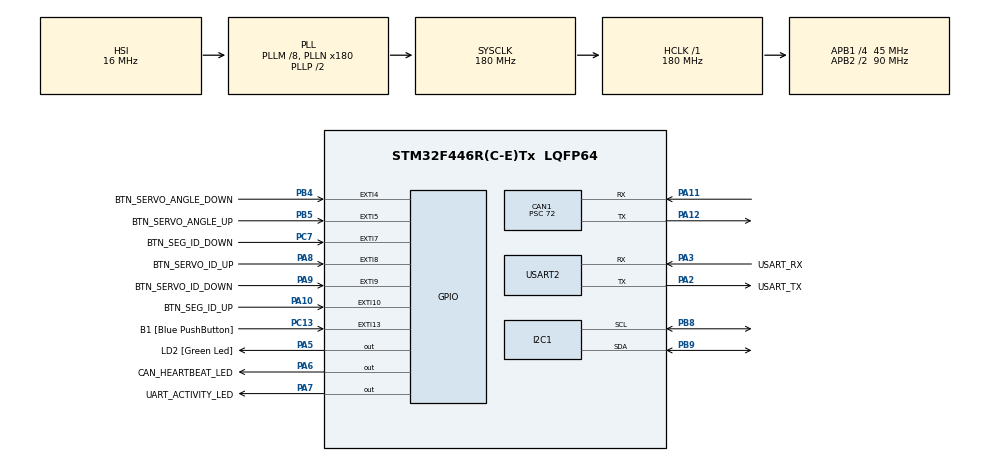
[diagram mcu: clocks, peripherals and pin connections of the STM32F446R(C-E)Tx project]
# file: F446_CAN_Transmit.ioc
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CAN1.BS1=CAN_BS1_2TQ
CAN1.BS2=CAN_BS2_2TQ
CAN1.CalculateBaudRate=125000
CAN1.CalculateTimeBit=8000
CAN1.CalculateTimeQuantum=1600.0
CAN1.Prescaler=72
Mcu.Family=STM32F4
Mcu.Name=STM32F446R(C-E)Tx
Mcu.Package=LQFP64
NVIC.CAN1_RX0_IRQn=true\:0\:0\:false\:false\:true\:true\:true\:true
NVIC.EXTI15_10_IRQn=true\:0\:0\:false\:false\:true\:true\:true\:true
NVIC.EXTI4_IRQn=true\:0\:0\:false\:false\:true\:true\:true\:true
NVIC.EXTI9_5_IRQn=true\:0\:0\:false\:false\:true\:true\:true\:true
NVIC.PriorityGroup=NVIC_PRIORITYGROUP_0
NVIC.TIM6_DAC_IRQn=true\:0\:0\:false\:false\:true\:true\:true\:true
NVIC.TIM7_IRQn=true\:0\:0\:false\:false\:true\:true\:true\:true
NVIC.USART2_IRQn=true\:0\:0\:false\:false\:true\:true\:true\:true
PA10.GPIO_Label=BTN_SEG_ID_UP
PA10.GPIO_PuPd=GPIO_PULLUP
PA10.Signal=GPXTI10
PA11.Mode=CAN_Activate
PA11.Signal=CAN1_RX
PA12.Mode=CAN_Activate
PA12.Signal=CAN1_TX
PA13.GPIO_Label=TMS
PA13.Mode=Serial_Wire
PA13.Signal=SYS_JTMS-SWDIO
PA14.GPIO_Label=TCK
PA14.Mode=Serial_Wire
PA14.Signal=SYS_JTCK-SWCLK
PA2.GPIO_Label=USART_TX
PA2.Mode=Asynchronous
PA2.Signal=USART2_TX
PA3.GPIO_Label=USART_RX
PA3.Mode=Asynchronous
PA3.Signal=USART2_RX
PA5.GPIO_Label=LD2 [Green Led]
PA5.Signal=GPIO_Output
PA6.GPIO_Label=CAN_HEARTBEAT_LED
PA6.Signal=GPIO_Output
PA7.GPIO_Label=UART_ACTIVITY_LED
PA7.Signal=GPIO_Output
PA8.GPIO_Label=BTN_SERVO_ID_UP
PA8.GPIO_PuPd=GPIO_PULLUP
PA8.Signal=GPXTI8
PA9.GPIO_Label=BTN_SERVO_ID_DOWN
PA9.GPIO_PuPd=GPIO_PULLUP
PA9.Signal=GPXTI9
PB3.GPIO_Label=SWO
PB3.Signal=SYS_JTDO-SWO
PB4.GPIO_Label=BTN_SERVO_ANGLE_DOWN
PB4.GPIO_PuPd=GPIO_PULLUP
PB4.Signal=GPXTI4
PB5.GPIO_Label=BTN_SERVO_ANGLE_UP
PB5.GPIO_PuPd=GPIO_PULLUP
PB5.Signal=GPXTI5
PB8.Mode=I2C
PB8.Signal=I2C1_SCL
PB9.Mode=I2C
PB9.Signal=I2C1_SDA
PC13.GPIO_Label=B1 [Blue PushButton]
PC13.GPIO_ModeDefaultEXTI=GPIO_MODE_IT_FALLING
PC13.Signal=GPXTI13
PC14-OSC32_IN.Mode=LSE-External-Oscillator
PC14-OSC32_IN.Signal=RCC_OSC32_IN
PC15-OSC32_OUT.Mode=LSE-External-Oscillator
PC15-OSC32_OUT.Signal=RCC_OSC32_OUT
PC7.GPIO_Label=BTN_SEG_ID_DOWN
PC7.GPIO_PuPd=GPIO_PULLUP
PC7.Signal=GPXTI7
PH0-OSC_IN.Mode=HSE-External-Oscillator
PH0-OSC_IN.Signal=RCC_OSC_IN
PH1-OSC_OUT.Mode=HSE-External-Oscillator
PH1-OSC_OUT.Signal=RCC_OSC_OUT
ProjectManager.HeapSize=0x200
ProjectManager.StackSize=0x400
ProjectManager.TargetToolchain=STM32CubeIDE
RCC.48MHZClocksFreq_Value=84000000
RCC.AHBFreq_Value=180000000
RCC.APB1CLKDivider=RCC_HCLK_DIV4
RCC.APB1Freq_Value=45000000
RCC.APB1TimFreq_Value=90000000
RCC.APB2CLKDivider=RCC_HCLK_DIV2
RCC.APB2Freq_Value=90000000
RCC.APB2TimFreq_Value=180000000
RCC.CortexFreq_Value=180000000
RCC.FLatency-AdvancedSettings=FLASH_LATENCY_5
RCC.HCLKFreq_Value=180000000
RCC.HSE_VALUE=8000000
RCC.HSI_VALUE=16000000
RCC.PLLM=8
RCC.PLLN=180
RCC.SYSCLKFreq_VALUE=180000000
RCC.SYSCLKSource=RCC_SYSCLKSOURCE_PLLCLK
RCC.USBFreq_Value=180000000
RCC.VCOOutputFreq_Value=360000000
TIM6.Period=40000-1
TIM6.Prescaler=270-1
TIM7.Period=5000-1
TIM7.Prescaler=9000-1
USART2.VirtualMode=VM_ASYNC
VP_TIM6_VS_ClockSourceINT.Mode=Enable_Timer
VP_TIM7_VS_ClockSourceINT.Mode=Enable_Timer
board=NUCLEO-F446RE

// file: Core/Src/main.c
/* USER CODE BEGIN Header */
/**
  ******************************************************************************
  * @file           : main.c
  * @brief          : Main program body
  ******************************************************************************
  * @attention
  *
  * Copyright (c) 2023 STMicroelectronics.
  * All rights reserved.
  *
  * This software is licensed under terms that can be found in the LICENSE file
  * in the root directory of this software component.
  * If no LICENSE file comes with this software, it is provided AS-IS.
  *
  ******************************************************************************
  */
/* USER CODE END Header */
#include "main.h"

/* USER CODE BEGIN Includes */
#include <stdbool.h>
#include <stdio.h>
#include <string.h>
#include "../../Drivers/ssd1306/ssd1306.h"
/* USER CODE END Includes */

/* USER CODE BEGIN PD */
//#define OLED_UART

//#define EXAMPLE_1
//#define EXAMPLE_2
//#define HEARTBEAT_EXAMPLE
/* USER CODE END PD */

CAN_HandleTypeDef hcan1;

I2C_HandleTypeDef hi2c1;

TIM_HandleTypeDef htim6;
TIM_HandleTypeDef htim7;

UART_HandleTypeDef huart2;

/* USER CODE BEGIN PV */
CAN_TxHeaderTypeDef txHeader;
CAN_RxHeaderTypeDef rxHeader;

uint8_t txData[8];
uint8_t rxData[8];

uint32_t txMailbox;

uint8_t expectedHeartbeatData = 0;

uint16_t angle = 0;

#define UART_RX_BUFFER_SIZE 20
uint8_t UART_Rx_Buffer[UART_RX_BUFFER_SIZE];

#define UART_RESPONSE_LENGTH 20
uint8_t UARTResponseString[UART_RESPONSE_LENGTH];
/* USER CODE END PV */

void SystemClock_Config(void);
static void MX_GPIO_Init(void);
static void MX_USART2_UART_Init(void);
static void MX_CAN1_Init(void);
static void MX_TIM6_Init(void);
static void MX_I2C1_Init(void);
static void MX_TIM7_Init(void);
/* USER CODE BEGIN PFP */
void updateManualValues();
bool stringToCANMessage(uint8_t *buffer, uint16_t size);
/* USER CODE END PFP */

/* USER CODE BEGIN 0 */
void HAL_GPIO_EXTI_Callback(uint16_t GPIO_Pin)
{
	// Disable button interrupts
	HAL_NVIC_DisableIRQ(EXTI4_IRQn);
	HAL_NVIC_DisableIRQ(EXTI9_5_IRQn);
	HAL_NVIC_DisableIRQ(EXTI15_10_IRQn);

	// Start debounce timer
	HAL_TIM_Base_Start_IT(&htim6);

	static uint8_t servoID = 0;
	static uint8_t segID = 0x10;

	switch(GPIO_Pin)
	{
		case BTN_SERVO_ANGLE_DOWN_Pin:
			angle = (angle <= 0) ? 270: angle - 10;
			break;
		case BTN_SERVO_ANGLE_UP_Pin:
			angle += 10;
			angle %= 270;
			break;
		case BTN_SERVO_ID_DOWN_Pin:
			servoID = (servoID <= 0) ? 0x03 : servoID - 1;
			break;
		case BTN_SERVO_ID_UP_Pin:
			servoID = (servoID >= 0x03) ? 0x00 : servoID + 1;
			break;
		case BTN_SEG_ID_UP_Pin:
			segID += 0x10;
			break;
		case BTN_SEG_ID_DOWN_Pin:
			segID -= 0x10;
			break;
	}

	txData[0] = angle >> 8;
	txData[1] = angle & 0x00FF;

	txHeader.StdId = segID + servoID;
	txHeader.RTR = CAN_RTR_DATA;
	txHeader.DLC = 2;

	HAL_CAN_AddTxMessage(&hcan1, &txHeader, txData, &txMailbox);

	HAL_GPIO_TogglePin(LD2_GPIO_Port, LD2_Pin);

	updateManualValues();
}

void HAL_UARTEx_RxEventCallback(UART_HandleTypeDef *huart, uint16_t Size)
{
	HAL_GPIO_WritePin(UART_ACTIVITY_LED_GPIO_Port, UART_ACTIVITY_LED_Pin, GPIO_PIN_SET);
	// Toggle LED if conversion and transmission was successful
	if(stringToCANMessage(UART_Rx_Buffer, Size))
	{
		HAL_GPIO_TogglePin(LD2_GPIO_Port, LD2_Pin);
		strcpy((char *) UARTResponseString, "OK\n");
	}
	else
	{
		strcpy((char *) UARTResponseString, "FAILED\n");
	}

#ifdef OLED_UART

	// Clear previous string
	ssd1306_SetCursor(0, 53);
	ssd1306_WriteString("                  ", Font_7x10, White);

	ssd1306_SetCursor(0, 53);
	ssd1306_WriteString((char *) UART_Rx_Buffer, Font_7x10, White);
	ssd1306_UpdateScreen();
#endif

//	HAL_UART_Transmit_IT(huart, UART_Rx_Buffer, Size);
	HAL_UART_Transmit_IT(huart, UARTResponseString, strlen((char *) UARTResponseString));
}

void HAL_UART_TxCpltCallback(UART_HandleTypeDef *huart)
{
	HAL_GPIO_WritePin(UART_ACTIVITY_LED_GPIO_Port, UART_ACTIVITY_LED_Pin, GPIO_PIN_RESET);

	HAL_UARTEx_ReceiveToIdle_IT(&huart2, UART_Rx_Buffer, UART_RX_BUFFER_SIZE);
}

void HAL_CAN_RxFifo0MsgPendingCallback(CAN_HandleTypeDef *hcan)
{
	HAL_CAN_GetRxMessage(&hcan1, CAN_RX_FIFO0, &rxHeader, rxData);

	// Check header length
	// Will likely need to be converted to a switch statement as more commands are implemented
	if((rxHeader.DLC == 1) && (rxData[0] == expectedHeartbeatData))
	{
		// Heart beat received if data matches expected value
		HAL_GPIO_WritePin(CAN_HEARTBEAT_LED_GPIO_Port, CAN_HEARTBEAT_LED_Pin, GPIO_PIN_RESET);
	}
}

void HAL_TIM_PeriodElapsedCallback(TIM_HandleTypeDef* htim)
{
	if(htim == &htim6)
	{
		// Re-enable button interrupts after debounce period
		HAL_NVIC_EnableIRQ(EXTI4_IRQn);
		HAL_NVIC_EnableIRQ(EXTI9_5_IRQn);
		HAL_NVIC_EnableIRQ(EXTI15_10_IRQn);

		HAL_TIM_Base_Stop_IT(&htim6);
	}
	else if(htim == &htim7)
	{
		// Store expected response for comparison in RxFifo0Callback
		// Expected value should be the CAN ID of the node you want to check
		expectedHeartbeatData = (expectedHeartbeatData < 0x40) ? expectedHeartbeatData + 0x10 : 0x10;

		txHeader.StdId = expectedHeartbeatData;
		txHeader.DLC = 1;
		txHeader.RTR = CAN_RTR_REMOTE;

		HAL_CAN_AddTxMessage(&hcan1, &txHeader, txData, &txMailbox);

		HAL_GPIO_TogglePin(LD2_GPIO_Port, LD2_Pin);
		HAL_GPIO_WritePin(CAN_HEARTBEAT_LED_GPIO_Port, CAN_HEARTBEAT_LED_Pin, GPIO_PIN_SET);
	}
}

bool stringToCANMessage(uint8_t *buffer, uint16_t size)
{
  // -= SET Command =-
  // Syntax: SET <ID> <ANGLE>
  // Description: Sets an individual servo motor to the specified angle
  // Parameters
  // <ID> -- Complete CAN ID of servo (e.g., 0x12 for segment 1 servo 2)
  // <ANGLE> -- Integer angle between 0 and 270 degrees
  // Example: SET 12 135
	if(strncmp((char *) buffer, (char *) "SET", 3) == 0)
	{
		unsigned int tmpID = 0;
		unsigned int tmpAngle = 0;

		// TODO: Implement hold flag
		if(sscanf((char *) buffer, "SET %X %u", &tmpID, &tmpAngle) != 2)
		{
			return false;
		}

		txData[0] = tmpAngle >> 8;
		txData[1] = tmpAngle & 0x00FF;

		txHeader.StdId = tmpID;
		txHeader.RTR = CAN_RTR_DATA;
		txHeader.DLC = 2;

		HAL_CAN_AddTxMessage(&hcan1, &txHeader, txData, &txMailbox);

#ifdef OLED_UART
		updateManualValues();
#endif

		return true;
	}

  // -= WAVE Command =-
  // Syntax: WAVE <SPEED> <TURN_ANGLE>
  // Description: Control metachronal wave and turning angle
  // Parameters
  // <SPEED> -- Decimal integer between 0 and 127 specifying the speed of the wave. 127 is max speed.
  // <TURN_ANGLE> -- (Optional) Decimal Integer angle between -135 and 135 degrees specifying the target turning angle of the robot. Remains unchanged if not specified.
  // Example 1: WAVE 0
  // Example 2: WAVE 50 -30
	else if(strncmp((char *) buffer, (char *) "WAVE", 4) == 0)
	{
		int8_t tmpSpeed = 0;

		if(sscanf((char *) buffer, "WAVE %hhd", &tmpSpeed) != 1)
		{
			return false;
		}

		txData[0] = tmpSpeed;

		txHeader.StdId = 0xFF;
		txHeader.RTR = CAN_RTR_DATA;
		txHeader.DLC = 1;

		HAL_CAN_AddTxMessage(&hcan1, &txHeader, txData, &txMailbox);

		return true;
	}

	return false;
}

void updateManualValues()
{
	char buffer[11];

	uint16_t angleDecimal = (txData[0] << 8) + txData[1];

	sprintf(buffer, "%2X %2X  %3d", (unsigned int) txHeader.StdId >> 4, (unsigned int) txHeader.StdId & 0x0F, angleDecimal);
	ssd1306_SetCursor(9, 30);
	ssd1306_WriteString(buffer, Font_11x18, White);
	ssd1306_UpdateScreen();
}
/* USER CODE END 0 */

int main(void)
{

  /* MCU Configuration--------------------------------------------------------*/

  /* Reset of all peripherals, Initializes the Flash interface and the Systick. */
  HAL_Init();

  /* Configure the system clock */
  SystemClock_Config();

  /* Initialize all configured peripherals */
  MX_GPIO_Init();
  MX_USART2_UART_Init();
  MX_CAN1_Init();
  MX_TIM6_Init();
  MX_I2C1_Init();
  MX_TIM7_Init();
  /* USER CODE BEGIN 2 */

  // Initialize SSD1306 display
  ssd1306_Init();
  ssd1306_Fill(Black);

  // Display number labels
  ssd1306_SetCursor(9, 10);
  ssd1306_WriteString("ID  M   A", Font_11x18, White);

  // Display placeholder values
  ssd1306_SetCursor(9, 30);
  ssd1306_WriteString("XX YY  ZZZ", Font_11x18, White);
  ssd1306_UpdateScreen();

  // Initialize CAN Tx header
  txHeader.DLC = 1;
  txHeader.IDE = CAN_ID_STD;
  txHeader.RTR = CAN_RTR_DATA;
  txHeader.StdId = 0x10;
  txHeader.ExtId = 0;
  txHeader.TransmitGlobalTime = DISABLE;

  HAL_CAN_Start(&hcan1);
  HAL_CAN_ActivateNotification(&hcan1, CAN_IT_RX_FIFO0_MSG_PENDING);

#ifndef HEARTBEAT_EXAMPLE
  // Start heartbeat timer
  HAL_TIM_Base_Start_IT(&htim7);
#endif

  // Start UART receive interrupt cycle
  HAL_UARTEx_ReceiveToIdle_IT(&huart2, UART_Rx_Buffer, UART_RX_BUFFER_SIZE);
  /* USER CODE END 2 */

  /* Infinite loop */
  /* USER CODE BEGIN WHILE */
  while (1)
  {
#ifdef EXAMPLE_1
//	  Example 1
	const uint8_t anglesByte0[4] = {0x0, 0x0, 0x0, 0x1};
	const uint8_t anglesByte1[4] = {0x0, 0x5A, 0xB4, 0x0E};

	for (uint8_t j = 0; j < 4; j++)
	{
		// Cycle through each servo motor connected to the segment
		for(uint8_t i = 0; i <= 3; i++)
		{
			// Modify this loop to control which segments the example addresses
			// E.g., 0x10 for segment 1, 0x20 for segment 2, etc.
			for(uint8_t segBaseAddr = 0x10; segBaseAddr <= 0x10; segBaseAddr += 0x10)
			{

				txHeader.StdId = segBaseAddr + i;

				txData[0] = anglesByte0[j];
				txData[1] = anglesByte1[j];

				txHeader.DLC = 2;
				HAL_CAN_AddTxMessage(&hcan1, &txHeader, txData, &txMailbox);

				updateManualValues();

				HAL_GPIO_TogglePin(LD2_GPIO_Port, LD2_Pin);

				HAL_Delay(500);
			}
		}

	}
#endif

#ifdef EXAMPLE_2
//	  Example 2
	for(uint8_t i = 3; i <= 8; i++)
	{
		txData[0] = i;
		txHeader.DLC = 1;
		HAL_CAN_AddTxMessage(&hcan1, &txHeader, txData, &txMailbox);

		HAL_GPIO_TogglePin(LD2_GPIO_Port, LD2_Pin);

		HAL_Delay(10000);
	}
#endif

#ifdef HEARTBEAT_EXAMPLE
	for(uint8_t id = 0x10; id <= 0x20; id += 0x10)
	{
		// Store expected response for comparison in RxFifo0Callback
		// Expected value should be the CAN ID of the node you want to check
		expectedHeartbeatData = id;

		txHeader.StdId = id;
		txHeader.DLC = 1;
		txHeader.RTR = CAN_RTR_REMOTE;

		HAL_CAN_AddTxMessage(&hcan1, &txHeader, txData, &txMailbox);

		HAL_GPIO_TogglePin(LD2_GPIO_Port, LD2_Pin);

		updateManualValues();

		HAL_Delay(1000);
	}
#endif
    /* USER CODE END WHILE */

  }
}

void SystemClock_Config(void)
{
  RCC_OscInitTypeDef RCC_OscInitStruct = {0};
  RCC_ClkInitTypeDef RCC_ClkInitStruct = {0};

  /** Configure the main internal regulator output voltage
  */
  __HAL_RCC_PWR_CLK_ENABLE();
  __HAL_PWR_VOLTAGESCALING_CONFIG(PWR_REGULATOR_VOLTAGE_SCALE1);

  /** Initializes the RCC Oscillators according to the specified parameters
  * in the RCC_OscInitTypeDef structure.
  */
  RCC_OscInitStruct.OscillatorType = RCC_OSCILLATORTYPE_HSI;
  RCC_OscInitStruct.HSIState = RCC_HSI_ON;
  RCC_OscInitStruct.HSICalibrationValue = RCC_HSICALIBRATION_DEFAULT;
  RCC_OscInitStruct.PLL.PLLState = RCC_PLL_ON;
  RCC_OscInitStruct.PLL.PLLSource = RCC_PLLSOURCE_HSI;
  RCC_OscInitStruct.PLL.PLLM = 8;
  RCC_OscInitStruct.PLL.PLLN = 180;
  RCC_OscInitStruct.PLL.PLLP = RCC_PLLP_DIV2;
  RCC_OscInitStruct.PLL.PLLQ = 2;
  RCC_OscInitStruct.PLL.PLLR = 2;
  if (HAL_RCC_OscConfig(&RCC_OscInitStruct) != HAL_OK)
  {
    Error_Handler();
  }

  /** Activate the Over-Drive mode
  */
  if (HAL_PWREx_EnableOverDrive() != HAL_OK)
  {
    Error_Handler();
  }

  /** Initializes the CPU, AHB and APB buses clocks
  */
  RCC_ClkInitStruct.ClockType = RCC_CLOCKTYPE_HCLK|RCC_CLOCKTYPE_SYSCLK
                              |RCC_CLOCKTYPE_PCLK1|RCC_CLOCKTYPE_PCLK2;
  RCC_ClkInitStruct.SYSCLKSource = RCC_SYSCLKSOURCE_PLLCLK;
  RCC_ClkInitStruct.AHBCLKDivider = RCC_SYSCLK_DIV1;
  RCC_ClkInitStruct.APB1CLKDivider = RCC_HCLK_DIV4;
  RCC_ClkInitStruct.APB2CLKDivider = RCC_HCLK_DIV2;

  if (HAL_RCC_ClockConfig(&RCC_ClkInitStruct, FLASH_LATENCY_5) != HAL_OK)
  {
    Error_Handler();
  }
}

static void MX_CAN1_Init(void)
{

  hcan1.Instance = CAN1;
  hcan1.Init.Prescaler = 72;
  hcan1.Init.Mode = CAN_MODE_NORMAL;
  hcan1.Init.SyncJumpWidth = CAN_SJW_1TQ;
  hcan1.Init.TimeSeg1 = CAN_BS1_2TQ;
  hcan1.Init.TimeSeg2 = CAN_BS2_2TQ;
  hcan1.Init.TimeTriggeredMode = DISABLE;
  hcan1.Init.AutoBusOff = DISABLE;
  hcan1.Init.AutoWakeUp = DISABLE;
  hcan1.Init.AutoRetransmission = DISABLE;
  hcan1.Init.ReceiveFifoLocked = DISABLE;
  hcan1.Init.TransmitFifoPriority = DISABLE;
  if (HAL_CAN_Init(&hcan1) != HAL_OK)
  {
    Error_Handler();
  }
  /* USER CODE BEGIN CAN1_Init 2 */
  CAN_FilterTypeDef canFilterConfig;

  canFilterConfig.FilterActivation = CAN_FILTER_ENABLE;
  canFilterConfig.FilterBank = 0; // 18
  canFilterConfig.FilterFIFOAssignment = CAN_FilterFIFO0;

  canFilterConfig.FilterIdHigh = 0x020 << 5;	// Can be any value if FilterMaskIDHigh is 0
  canFilterConfig.FilterIdLow = 0;
//  canFilterConfig.FilterMaskIdHigh = 0x7FC << 5;	// Filter by ID, ignoring 2 LSBs
  canFilterConfig.FilterMaskIdHigh = 0x000 << 5;	// Allow all IDs through filter (i.e., don't check any ID bits)
  canFilterConfig.FilterMaskIdLow = 0x0000;
  canFilterConfig.FilterMode = CAN_FILTERMODE_IDMASK;
  canFilterConfig.FilterScale = CAN_FILTERSCALE_32BIT;
  canFilterConfig.SlaveStartFilterBank = 20;

  HAL_CAN_ConfigFilter(&hcan1, &canFilterConfig);
  /* USER CODE END CAN1_Init 2 */

}

static void MX_I2C1_Init(void)
{

  hi2c1.Instance = I2C1;
  hi2c1.Init.ClockSpeed = 100000;
  hi2c1.Init.DutyCycle = I2C_DUTYCYCLE_2;
  hi2c1.Init.OwnAddress1 = 0;
  hi2c1.Init.AddressingMode = I2C_ADDRESSINGMODE_7BIT;
  hi2c1.Init.DualAddressMode = I2C_DUALADDRESS_DISABLE;
  hi2c1.Init.OwnAddress2 = 0;
  hi2c1.Init.GeneralCallMode = I2C_GENERALCALL_DISABLE;
  hi2c1.Init.NoStretchMode = I2C_NOSTRETCH_DISABLE;
  if (HAL_I2C_Init(&hi2c1) != HAL_OK)
  {
    Error_Handler();
  }

}

static void MX_TIM6_Init(void)
{

  TIM_MasterConfigTypeDef sMasterConfig = {0};

  htim6.Instance = TIM6;
  htim6.Init.Prescaler = 270-1;
  htim6.Init.CounterMode = TIM_COUNTERMODE_UP;
  htim6.Init.Period = 40000-1;
  htim6.Init.AutoReloadPreload = TIM_AUTORELOAD_PRELOAD_DISABLE;
  if (HAL_TIM_Base_Init(&htim6) != HAL_OK)
  {
    Error_Handler();
  }
  sMasterConfig.MasterOutputTrigger = TIM_TRGO_RESET;
  sMasterConfig.MasterSlaveMode = TIM_MASTERSLAVEMODE_DISABLE;
  if (HAL_TIMEx_MasterConfigSynchronization(&htim6, &sMasterConfig) != HAL_OK)
  {
    Error_Handler();
  }

}

static void MX_TIM7_Init(void)
{

  TIM_MasterConfigTypeDef sMasterConfig = {0};

  htim7.Instance = TIM7;
  htim7.Init.Prescaler = 9000-1;
  htim7.Init.CounterMode = TIM_COUNTERMODE_UP;
  htim7.Init.Period = 5000-1;
  htim7.Init.AutoReloadPreload = TIM_AUTORELOAD_PRELOAD_DISABLE;
  if (HAL_TIM_Base_Init(&htim7) != HAL_OK)
  {
    Error_Handler();
  }
  sMasterConfig.MasterOutputTrigger = TIM_TRGO_RESET;
  sMasterConfig.MasterSlaveMode = TIM_MASTERSLAVEMODE_DISABLE;
  if (HAL_TIMEx_MasterConfigSynchronization(&htim7, &sMasterConfig) != HAL_OK)
  {
    Error_Handler();
  }

}

static void MX_USART2_UART_Init(void)
{

  huart2.Instance = USART2;
  huart2.Init.BaudRate = 115200;
  huart2.Init.WordLength = UART_WORDLENGTH_8B;
  huart2.Init.StopBits = UART_STOPBITS_1;
  huart2.Init.Parity = UART_PARITY_NONE;
  huart2.Init.Mode = UART_MODE_TX_RX;
  huart2.Init.HwFlowCtl = UART_HWCONTROL_NONE;
  huart2.Init.OverSampling = UART_OVERSAMPLING_16;
  if (HAL_UART_Init(&huart2) != HAL_OK)
  {
    Error_Handler();
  }

}

static void MX_GPIO_Init(void)
{
  GPIO_InitTypeDef GPIO_InitStruct = {0};

  /* GPIO Ports Clock Enable */
  __HAL_RCC_GPIOC_CLK_ENABLE();
  __HAL_RCC_GPIOH_CLK_ENABLE();
  __HAL_RCC_GPIOA_CLK_ENABLE();
  __HAL_RCC_GPIOB_CLK_ENABLE();

  /*Configure GPIO pin Output Level */
  HAL_GPIO_WritePin(GPIOA, LD2_Pin|CAN_HEARTBEAT_LED_Pin|UART_ACTIVITY_LED_Pin, GPIO_PIN_RESET);

  /*Configure GPIO pin : B1_Pin */
  GPIO_InitStruct.Pin = B1_Pin;
  GPIO_InitStruct.Mode = GPIO_MODE_IT_FALLING;
  GPIO_InitStruct.Pull = GPIO_NOPULL;
  HAL_GPIO_Init(B1_GPIO_Port, &GPIO_InitStruct);

  /*Configure GPIO pins : LD2_Pin CAN_HEARTBEAT_LED_Pin UART_ACTIVITY_LED_Pin */
  GPIO_InitStruct.Pin = LD2_Pin|CAN_HEARTBEAT_LED_Pin|UART_ACTIVITY_LED_Pin;
  GPIO_InitStruct.Mode = GPIO_MODE_OUTPUT_PP;
  GPIO_InitStruct.Pull = GPIO_NOPULL;
  GPIO_InitStruct.Speed = GPIO_SPEED_FREQ_LOW;
  HAL_GPIO_Init(GPIOA, &GPIO_InitStruct);

  /*Configure GPIO pin : BTN_SEG_ID_DOWN_Pin */
  GPIO_InitStruct.Pin = BTN_SEG_ID_DOWN_Pin;
  GPIO_InitStruct.Mode = GPIO_MODE_IT_RISING;
  GPIO_InitStruct.Pull = GPIO_PULLUP;
  HAL_GPIO_Init(BTN_SEG_ID_DOWN_GPIO_Port, &GPIO_InitStruct);

  /*Configure GPIO pins : BTN_SERVO_ID_UP_Pin BTN_SERVO_ID_DOWN_Pin BTN_SEG_ID_UP_Pin */
  GPIO_InitStruct.Pin = BTN_SERVO_ID_UP_Pin|BTN_SERVO_ID_DOWN_Pin|BTN_SEG_ID_UP_Pin;
  GPIO_InitStruct.Mode = GPIO_MODE_IT_RISING;
  GPIO_InitStruct.Pull = GPIO_PULLUP;
  HAL_GPIO_Init(GPIOA, &GPIO_InitStruct);

  /*Configure GPIO pins : BTN_SERVO_ANGLE_DOWN_Pin BTN_SERVO_ANGLE_UP_Pin */
  GPIO_InitStruct.Pin = BTN_SERVO_ANGLE_DOWN_Pin|BTN_SERVO_ANGLE_UP_Pin;
  GPIO_InitStruct.Mode = GPIO_MODE_IT_RISING;
  GPIO_InitStruct.Pull = GPIO_PULLUP;
  HAL_GPIO_Init(GPIOB, &GPIO_InitStruct);

  /* EXTI interrupt init*/
  HAL_NVIC_SetPriority(EXTI4_IRQn, 0, 0);
  HAL_NVIC_EnableIRQ(EXTI4_IRQn);

  HAL_NVIC_SetPriority(EXTI9_5_IRQn, 0, 0);
  HAL_NVIC_EnableIRQ(EXTI9_5_IRQn);

  HAL_NVIC_SetPriority(EXTI15_10_IRQn, 0, 0);
  HAL_NVIC_EnableIRQ(EXTI15_10_IRQn);

}

void Error_Handler(void)
{
  __disable_irq();
  while (1)
  {
  }
}
